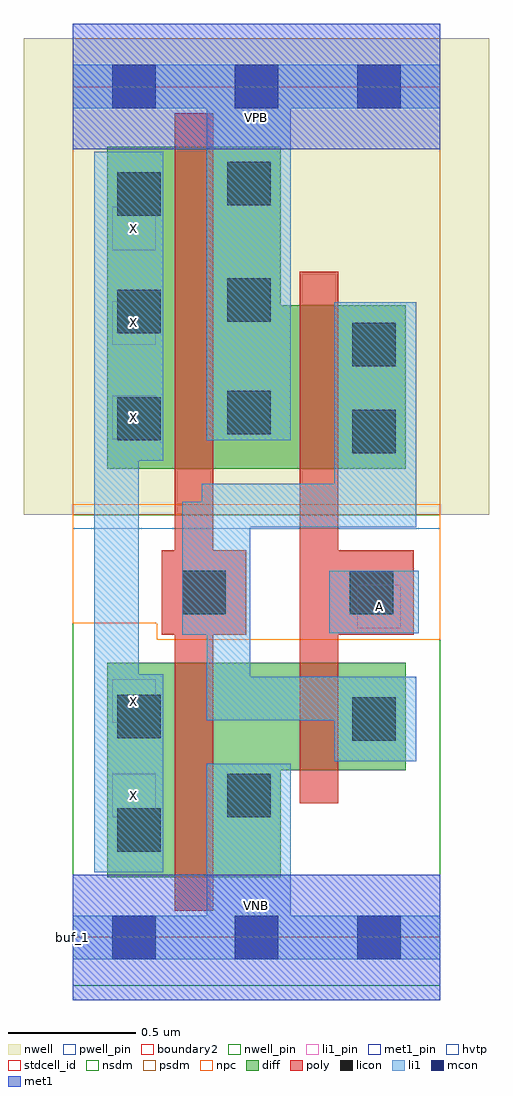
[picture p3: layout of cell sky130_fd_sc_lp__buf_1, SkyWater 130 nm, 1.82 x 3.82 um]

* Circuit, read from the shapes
.subckt sky130_fd_sc_lp__buf_1 A VGND VNB VPB VPWR X
XM1 VGND n1 X VNB sky130_fd_pr__nfet_01v8 w=0.84 l=0.15
XM2 n1 A VGND VNB sky130_fd_pr__nfet_01v8 w=0.42 l=0.15
XM3 VPWR n1 X VPB sky130_fd_pr__pfet_01v8_hvt w=1.26 l=0.15
XM4 n1 A VPWR VPB sky130_fd_pr__pfet_01v8_hvt w=0.64 l=0.15
.ends

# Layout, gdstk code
import gdstk
lib = gdstk.Library(unit=1e-6, precision=1e-09)
def R(c, l, rs):  # rectangles x0, y0, x1, y1
    for r in rs: c.add(gdstk.rectangle(r[:2], r[2:], *l))
def A(c, l, x, y, w, h, nx, ny, dx, dy):  # array of equal rectangles
    R(c, l, [(x+i*dx, y+j*dy, x+i*dx+w, y+j*dy+h) for i in range(nx) for j in range(ny)])
def P(c, l, *ps):  # polygons
    for p in ps: c.add(gdstk.Polygon(p, *l))
nwell_pin = (64, 16)
nwell = (64, 20)
diff = (65, 20)
poly = (66, 20)
licon = (66, 44)
li1_pin = (67, 16)
li1 = (67, 20)
mcon = (67, 44)
met1_pin = (68, 16)
met1 = (68, 20)
hvtp = (78, 44)
stdcell_id = (81, 4)
nsdm = (93, 44)
psdm = (94, 20)
npc = (95, 20)
pwell_pin = (122, 16)
boundary2 = (236, 0)

sky130_fd_sc_lp__buf_1 = lib.new_cell('sky130_fd_sc_lp__buf_1')
R(sky130_fd_sc_lp__buf_1, nwell_pin, [(0,3.085,1.44,3.33)])
R(sky130_fd_sc_lp__buf_1, nwell, [(-0.19,1.655,1.63,3.52)])
P(sky130_fd_sc_lp__buf_1, diff, [(1.305,2.475),(0.815,2.475),(0.815,3.095),(0.135,3.095),(0.135,1.835),(1.305,1.835)],
  [(1.305,1.075),(0.135,1.075),(0.135,0.235),(0.815,0.235),(0.815,0.655),(1.305,0.655)])
P(sky130_fd_sc_lp__buf_1, poly, [(0.68,1.515),(0.55,1.515),(0.55,3.225),(0.4,3.225),(0.4,1.515),(0.35,1.515),(0.35,1.185),(0.4,1.185),(0.4,0.105),(0.55,0.105),(0.55,1.185),(0.68,1.185)],
  [(1.335,1.515),(1.04,1.515),(1.04,2.605),(0.89,2.605),(0.89,0.525),(1.04,0.525),(1.04,1.185),(1.335,1.185)])
R(sky130_fd_sc_lp__buf_1, licon, [(0.175,0.335,0.345,0.505), (0.605,0.47,0.775,0.64), (1.095,0.77,1.265,0.94), (0.175,0.78,0.345,0.95), (0.43,1.265,0.6,1.435), (1.085,1.265,1.255,1.435), (1.095,1.895,1.265,2.065), (0.175,1.945,0.345,2.115), (0.605,1.97,0.775,2.14), (1.095,2.235,1.265,2.405), (0.175,2.365,0.345,2.535), (0.605,2.41,0.775,2.58), (0.175,2.825,0.345,2.995), (0.605,2.865,0.775,3.035)])
A(sky130_fd_sc_lp__buf_1, li1_pin, 0.155, 1.95, 0.17, 0.17, 1, 3, 0, 0.37)
R(sky130_fd_sc_lp__buf_1, li1_pin, [(0.155,0.47,0.325,0.64), (0.155,0.84,0.325,1.01), (1.115,1.21,1.285,1.38)])
R(sky130_fd_sc_lp__buf_1, li1, [(1.005,1.19,1.355,1.435)])
P(sky130_fd_sc_lp__buf_1, li1, [(1.44,3.415),(0,3.415),(0,3.245),(0.525,3.245),(0.525,1.945),(0.855,1.945),(0.855,3.245),(1.44,3.245)],
  [(1.44,0.085),(0.855,0.085),(0.855,0.68),(0.525,0.68),(0.525,0.085),(0,0.085),(0,-0.085),(1.44,-0.085)],
  [(1.345,1.02),(0.695,1.02),(0.695,1.605),(1.345,1.605),(1.345,2.485),(1.025,2.485),(1.025,1.775),(0.505,1.775),(0.505,1.705),(0.43,1.705),(0.43,1.185),(0.525,1.185),(0.525,0.85),(1.025,0.85),(1.025,0.69),(1.345,0.69)],
  [(0.355,1.03),(0.26,1.03),(0.26,1.865),(0.355,1.865),(0.355,3.075),(0.085,3.075),(0.085,0.255),(0.355,0.255)])
A(sky130_fd_sc_lp__buf_1, mcon, 0.155, -0.085, 0.17, 0.17, 3, 2, 0.48, 3.33)
R(sky130_fd_sc_lp__buf_1, met1_pin, [(0,0,1.44,0.245), (0,3.085,1.44,3.33)])
R(sky130_fd_sc_lp__buf_1, met1, [(0,-0.245,1.44,0.245), (0,3.085,1.44,3.575)])
R(sky130_fd_sc_lp__buf_1, hvtp, [(0,1.6,1.44,3.33)])
R(sky130_fd_sc_lp__buf_1, stdcell_id, [(0,0,1.44,3.33)])
R(sky130_fd_sc_lp__buf_1, nsdm, [(0,-0.19,1.44,1.655)])
R(sky130_fd_sc_lp__buf_1, psdm, [(0,1.655,1.44,3.52)])
P(sky130_fd_sc_lp__buf_1, npc, [(1.44,1.695),(0,1.695),(0,1.23),(0.33,1.23),(0.33,1.165),(1.44,1.165)])
R(sky130_fd_sc_lp__buf_1, pwell_pin, [(0,0,1.44,0.245)])
R(sky130_fd_sc_lp__buf_1, boundary2, [(0,0,1.44,3.33)])
sky130_fd_sc_lp__buf_1.add(gdstk.Label('VNB', (0.72,0.123), layer=64, texttype=59))
sky130_fd_sc_lp__buf_1.add(gdstk.Label('VPB', (0.72,3.208), layer=64, texttype=5))
sky130_fd_sc_lp__buf_1.add(gdstk.Label('buf_1', (0,0), layer=83, texttype=44))
sky130_fd_sc_lp__buf_1.add(gdstk.Label('VPWR', (0.72,3.208), layer=68, texttype=5))
sky130_fd_sc_lp__buf_1.add(gdstk.Label('VGND', (0.72,0.123), layer=68, texttype=5))
sky130_fd_sc_lp__buf_1.add(gdstk.Label('A', (1.2,1.295), layer=67, texttype=5))
sky130_fd_sc_lp__buf_1.add(gdstk.Label('X', (0.24,0.555), layer=67, texttype=5))
sky130_fd_sc_lp__buf_1.add(gdstk.Label('X', (0.24,0.925), layer=67, texttype=5))
sky130_fd_sc_lp__buf_1.add(gdstk.Label('X', (0.24,2.035), layer=67, texttype=5))
sky130_fd_sc_lp__buf_1.add(gdstk.Label('X', (0.24,2.405), layer=67, texttype=5))
sky130_fd_sc_lp__buf_1.add(gdstk.Label('X', (0.24,2.775), layer=67, texttype=5))

lib.write_gds('sky130_fd_sc_lp__buf_1.gds')
